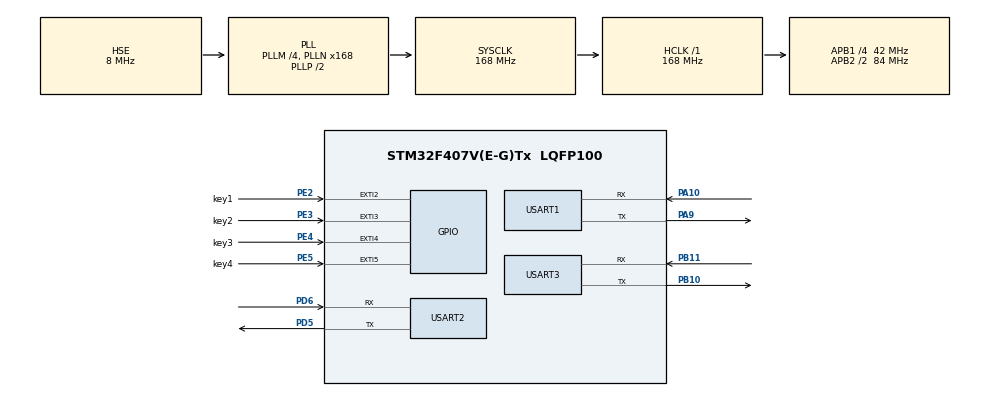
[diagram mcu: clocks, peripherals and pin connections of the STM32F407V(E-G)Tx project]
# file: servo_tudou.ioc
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Dma.Request0=USART1_RX
Dma.Request1=USART1_TX
Dma.Request2=USART2_RX
Dma.Request3=USART2_TX
Dma.Request4=USART3_RX
Dma.Request5=USART3_TX
Dma.USART1_RX.0.Direction=DMA_PERIPH_TO_MEMORY
Dma.USART1_RX.0.FIFOMode=DMA_FIFOMODE_DISABLE
Dma.USART1_RX.0.Instance=DMA2_Stream2
Dma.USART1_RX.0.MemDataAlignment=DMA_MDATAALIGN_BYTE
Dma.USART1_RX.0.MemInc=DMA_MINC_ENABLE
Dma.USART1_RX.0.Mode=DMA_NORMAL
Dma.USART1_RX.0.PeriphDataAlignment=DMA_PDATAALIGN_BYTE
Dma.USART1_RX.0.PeriphInc=DMA_PINC_DISABLE
Dma.USART1_RX.0.Priority=DMA_PRIORITY_LOW
Dma.USART1_TX.1.Direction=DMA_MEMORY_TO_PERIPH
Dma.USART1_TX.1.FIFOMode=DMA_FIFOMODE_DISABLE
Dma.USART1_TX.1.Instance=DMA2_Stream7
Dma.USART1_TX.1.MemDataAlignment=DMA_MDATAALIGN_BYTE
Dma.USART1_TX.1.MemInc=DMA_MINC_ENABLE
Dma.USART1_TX.1.Mode=DMA_NORMAL
Dma.USART1_TX.1.PeriphDataAlignment=DMA_PDATAALIGN_BYTE
Dma.USART1_TX.1.PeriphInc=DMA_PINC_DISABLE
Dma.USART1_TX.1.Priority=DMA_PRIORITY_LOW
Dma.USART2_RX.2.Direction=DMA_PERIPH_TO_MEMORY
Dma.USART2_RX.2.FIFOMode=DMA_FIFOMODE_DISABLE
Dma.USART2_RX.2.Instance=DMA1_Stream5
Dma.USART2_RX.2.MemDataAlignment=DMA_MDATAALIGN_BYTE
Dma.USART2_RX.2.MemInc=DMA_MINC_ENABLE
Dma.USART2_RX.2.Mode=DMA_NORMAL
Dma.USART2_RX.2.PeriphDataAlignment=DMA_PDATAALIGN_BYTE
Dma.USART2_RX.2.PeriphInc=DMA_PINC_DISABLE
Dma.USART2_RX.2.Priority=DMA_PRIORITY_LOW
Dma.USART2_TX.3.Direction=DMA_MEMORY_TO_PERIPH
Dma.USART2_TX.3.FIFOMode=DMA_FIFOMODE_DISABLE
Dma.USART2_TX.3.Instance=DMA1_Stream6
Dma.USART2_TX.3.MemDataAlignment=DMA_MDATAALIGN_BYTE
Dma.USART2_TX.3.MemInc=DMA_MINC_ENABLE
Dma.USART2_TX.3.Mode=DMA_NORMAL
Dma.USART2_TX.3.PeriphDataAlignment=DMA_PDATAALIGN_BYTE
Dma.USART2_TX.3.PeriphInc=DMA_PINC_DISABLE
Dma.USART2_TX.3.Priority=DMA_PRIORITY_LOW
Dma.USART3_RX.4.Direction=DMA_PERIPH_TO_MEMORY
Dma.USART3_RX.4.FIFOMode=DMA_FIFOMODE_DISABLE
Dma.USART3_RX.4.Instance=DMA1_Stream1
Dma.USART3_RX.4.MemDataAlignment=DMA_MDATAALIGN_BYTE
Dma.USART3_RX.4.MemInc=DMA_MINC_ENABLE
Dma.USART3_RX.4.Mode=DMA_NORMAL
Dma.USART3_RX.4.PeriphDataAlignment=DMA_PDATAALIGN_BYTE
Dma.USART3_RX.4.PeriphInc=DMA_PINC_DISABLE
Dma.USART3_RX.4.Priority=DMA_PRIORITY_LOW
Dma.USART3_TX.5.Direction=DMA_MEMORY_TO_PERIPH
Dma.USART3_TX.5.FIFOMode=DMA_FIFOMODE_DISABLE
Dma.USART3_TX.5.Instance=DMA1_Stream3
Dma.USART3_TX.5.MemDataAlignment=DMA_MDATAALIGN_BYTE
Dma.USART3_TX.5.MemInc=DMA_MINC_ENABLE
Dma.USART3_TX.5.Mode=DMA_NORMAL
Dma.USART3_TX.5.PeriphDataAlignment=DMA_PDATAALIGN_BYTE
Dma.USART3_TX.5.PeriphInc=DMA_PINC_DISABLE
Dma.USART3_TX.5.Priority=DMA_PRIORITY_LOW
Mcu.Family=STM32F4
Mcu.Name=STM32F407V(E-G)Tx
Mcu.Package=LQFP100
NVIC.DMA1_Stream1_IRQn=true\:0\:0\:false\:false\:true\:false\:true\:true
NVIC.DMA1_Stream3_IRQn=true\:0\:0\:false\:false\:true\:false\:true\:true
NVIC.DMA1_Stream5_IRQn=true\:0\:0\:false\:false\:true\:false\:true\:true
NVIC.DMA1_Stream6_IRQn=true\:0\:0\:false\:false\:true\:false\:true\:true
NVIC.DMA2_Stream2_IRQn=true\:0\:0\:false\:false\:true\:false\:true\:true
NVIC.DMA2_Stream7_IRQn=true\:0\:0\:false\:false\:true\:false\:true\:true
NVIC.EXTI2_IRQn=true\:0\:0\:false\:false\:true\:true\:true\:true
NVIC.EXTI3_IRQn=true\:0\:0\:false\:false\:true\:true\:true\:true
NVIC.EXTI4_IRQn=true\:0\:0\:false\:false\:true\:true\:true\:true
NVIC.EXTI9_5_IRQn=true\:0\:0\:false\:false\:true\:true\:true\:true
NVIC.PriorityGroup=NVIC_PRIORITYGROUP_4
NVIC.USART1_IRQn=true\:0\:0\:false\:false\:true\:true\:true\:true
NVIC.USART2_IRQn=true\:0\:0\:false\:false\:true\:true\:true\:true
NVIC.USART3_IRQn=true\:0\:0\:false\:false\:true\:true\:true\:true
PA10.Mode=Asynchronous
PA10.Signal=USART1_RX
PA13.Mode=Serial_Wire
PA13.Signal=SYS_JTMS-SWDIO
PA14.Mode=Serial_Wire
PA14.Signal=SYS_JTCK-SWCLK
PA9.Mode=Asynchronous
PA9.Signal=USART1_TX
PB10.Mode=Asynchronous
PB10.Signal=USART3_TX
PB11.Mode=Asynchronous
PB11.Signal=USART3_RX
PD5.Mode=Asynchronous
PD5.Signal=USART2_TX
PD6.Mode=Asynchronous
PD6.Signal=USART2_RX
PE2.GPIO_Label=key1
PE2.GPIO_ModeDefaultEXTI=GPIO_MODE_IT_FALLING
PE2.GPIO_PuPd=GPIO_PULLUP
PE2.Signal=GPXTI2
PE3.GPIO_Label=key2
PE3.GPIO_ModeDefaultEXTI=GPIO_MODE_IT_FALLING
PE3.GPIO_PuPd=GPIO_PULLUP
PE3.Signal=GPXTI3
PE4.GPIO_Label=key3
PE4.GPIO_ModeDefaultEXTI=GPIO_MODE_IT_FALLING
PE4.GPIO_PuPd=GPIO_PULLUP
PE4.Signal=GPXTI4
PE5.GPIO_Label=key4
PE5.GPIO_ModeDefaultEXTI=GPIO_MODE_IT_FALLING
PE5.GPIO_PuPd=GPIO_PULLUP
PE5.Signal=GPXTI5
PH0-OSC_IN.Mode=HSE-External-Oscillator
PH0-OSC_IN.Signal=RCC_OSC_IN
PH1-OSC_OUT.Mode=HSE-External-Oscillator
PH1-OSC_OUT.Signal=RCC_OSC_OUT
ProjectManager.HeapSize=0x200
ProjectManager.StackSize=0x400
ProjectManager.TargetToolchain=MDK-ARM V5.32
RCC.48MHZClocksFreq_Value=84000000
RCC.AHBFreq_Value=168000000
RCC.APB1CLKDivider=RCC_HCLK_DIV4
RCC.APB1Freq_Value=42000000
RCC.APB1TimFreq_Value=84000000
RCC.APB2CLKDivider=RCC_HCLK_DIV2
RCC.APB2Freq_Value=84000000
RCC.APB2TimFreq_Value=168000000
RCC.CortexFreq_Value=168000000
RCC.HCLKFreq_Value=168000000
RCC.HSE_VALUE=8000000
RCC.HSI_VALUE=16000000
RCC.LSE_VALUE=32768
RCC.PLLM=4
RCC.PLLN=168
RCC.PLLSourceVirtual=RCC_PLLSOURCE_HSE
RCC.SYSCLKFreq_VALUE=168000000
RCC.SYSCLKSource=RCC_SYSCLKSOURCE_PLLCLK
RCC.VCOOutputFreq_Value=336000000
USART1.VirtualMode=VM_ASYNC
USART2.VirtualMode=VM_ASYNC
USART3.VirtualMode=VM_ASYNC
board=custom

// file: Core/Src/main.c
/* USER CODE BEGIN Header */
/**
  ******************************************************************************
  * @file           : main.c
  * @brief          : Main program body
  ******************************************************************************
  * @attention
  *
  * Copyright (c) 2025 STMicroelectronics.
  * All rights reserved.
  *
  * This software is licensed under terms that can be found in the LICENSE file
  * in the root directory of this software component.
  * If no LICENSE file comes with this software, it is provided AS-IS.
  *
  ******************************************************************************
  */
/* USER CODE END Header */
#include "main.h"
#include "dma.h"
#include "usart.h"
#include "gpio.h"

/* USER CODE BEGIN Includes */
#include "my_uart.h"
#include "Emm_V5.h"
#include "key.h"
/* USER CODE END Includes */

/* USER CODE BEGIN PTD */
uint8_t key;
int8_t mark;
/* USER CODE END PTD */

void SystemClock_Config(void);

int main(void)
{

  /* MCU Configuration--------------------------------------------------------*/

  /* Reset of all peripherals, Initializes the Flash interface and the Systick. */
  HAL_Init();

  /* Configure the system clock */
  SystemClock_Config();

  /* Initialize all configured peripherals */
  MX_GPIO_Init();
  MX_DMA_Init();
  MX_USART1_UART_Init();
  MX_USART2_UART_Init();
  MX_USART3_UART_Init();
  /* USER CODE BEGIN 2 */
	AUTO_uartDma_init();
	Emm_Init();

/**********************************************************
***	上电延时2秒等待Emm_V5.0闭环初始化完毕
**********************************************************/
	HAL_Delay(2000);

  /* USER CODE END 2 */

  /* Infinite loop */
  while (1)
  {

    /* USER CODE BEGIN 3 */

		key = key_scan(0);                  /* 得到键值 */
		if(key==2)
		{
//			Emm_motor[0].angle=100;
//			Emm_V5_Pos_Control(&huart1,1, Emm_motor[0].vel,Emm_motor[0].acc,Emm_motor[0].angle,Emm_motor[0].raF,Emm_motor[0].snF);

			Emm_motor[1].angle=300;
			Emm_V5_Pos_Control(&huart2,1, Emm_motor[1].vel,Emm_motor[1].acc,Emm_motor[1].angle,Emm_motor[1].raF,Emm_motor[1].snF);
//			Emm_motor[2].angle=1000;
//			Emm_V5_Pos_Control(&huart3,1, Emm_motor[2].vel,Emm_motor[2].acc,Emm_motor[2].angle,Emm_motor[2].raF,Emm_motor[2].snF);
			HAL_Delay(10);
			mark +=1;
		}
		else if(key==3)
		{
//			Emm_motor[0].angle=-200;
//			Emm_V5_Pos_Control(&huart1,1, Emm_motor[0].vel,Emm_motor[0].acc,Emm_motor[0].angle,Emm_motor[0].raF,Emm_motor[0].snF);

			Emm_motor[1].angle=-300;
			Emm_V5_Pos_Control(&huart2,1, Emm_motor[1].vel,Emm_motor[1].acc,Emm_motor[1].angle,Emm_motor[1].raF,Emm_motor[1].snF);
//			Emm_motor[2].angle=-1000;
//			Emm_V5_Pos_Control(&huart3,1, Emm_motor[2].vel,Emm_motor[2].acc,Emm_motor[2].angle,Emm_motor[2].raF,Emm_motor[2].snF);
			HAL_Delay(10);
			mark -=1;
		}

  }
  /* USER CODE END 3 */
}

void SystemClock_Config(void)
{
  RCC_OscInitTypeDef RCC_OscInitStruct = {0};
  RCC_ClkInitTypeDef RCC_ClkInitStruct = {0};

  /** Configure the main internal regulator output voltage
  */
  __HAL_RCC_PWR_CLK_ENABLE();
  __HAL_PWR_VOLTAGESCALING_CONFIG(PWR_REGULATOR_VOLTAGE_SCALE1);

  /** Initializes the RCC Oscillators according to the specified parameters
  * in the RCC_OscInitTypeDef structure.
  */
  RCC_OscInitStruct.OscillatorType = RCC_OSCILLATORTYPE_HSE;
  RCC_OscInitStruct.HSEState = RCC_HSE_ON;
  RCC_OscInitStruct.PLL.PLLState = RCC_PLL_ON;
  RCC_OscInitStruct.PLL.PLLSource = RCC_PLLSOURCE_HSE;
  RCC_OscInitStruct.PLL.PLLM = 4;
  RCC_OscInitStruct.PLL.PLLN = 168;
  RCC_OscInitStruct.PLL.PLLP = RCC_PLLP_DIV2;
  RCC_OscInitStruct.PLL.PLLQ = 4;
  if (HAL_RCC_OscConfig(&RCC_OscInitStruct) != HAL_OK)
  {
    Error_Handler();
  }

  /** Initializes the CPU, AHB and APB buses clocks
  */
  RCC_ClkInitStruct.ClockType = RCC_CLOCKTYPE_HCLK|RCC_CLOCKTYPE_SYSCLK
                              |RCC_CLOCKTYPE_PCLK1|RCC_CLOCKTYPE_PCLK2;
  RCC_ClkInitStruct.SYSCLKSource = RCC_SYSCLKSOURCE_PLLCLK;
  RCC_ClkInitStruct.AHBCLKDivider = RCC_SYSCLK_DIV1;
  RCC_ClkInitStruct.APB1CLKDivider = RCC_HCLK_DIV4;
  RCC_ClkInitStruct.APB2CLKDivider = RCC_HCLK_DIV2;

  if (HAL_RCC_ClockConfig(&RCC_ClkInitStruct, FLASH_LATENCY_5) != HAL_OK)
  {
    Error_Handler();
  }
}

void Error_Handler(void)
{
  __disable_irq();
  while (1)
  {
  }
}
